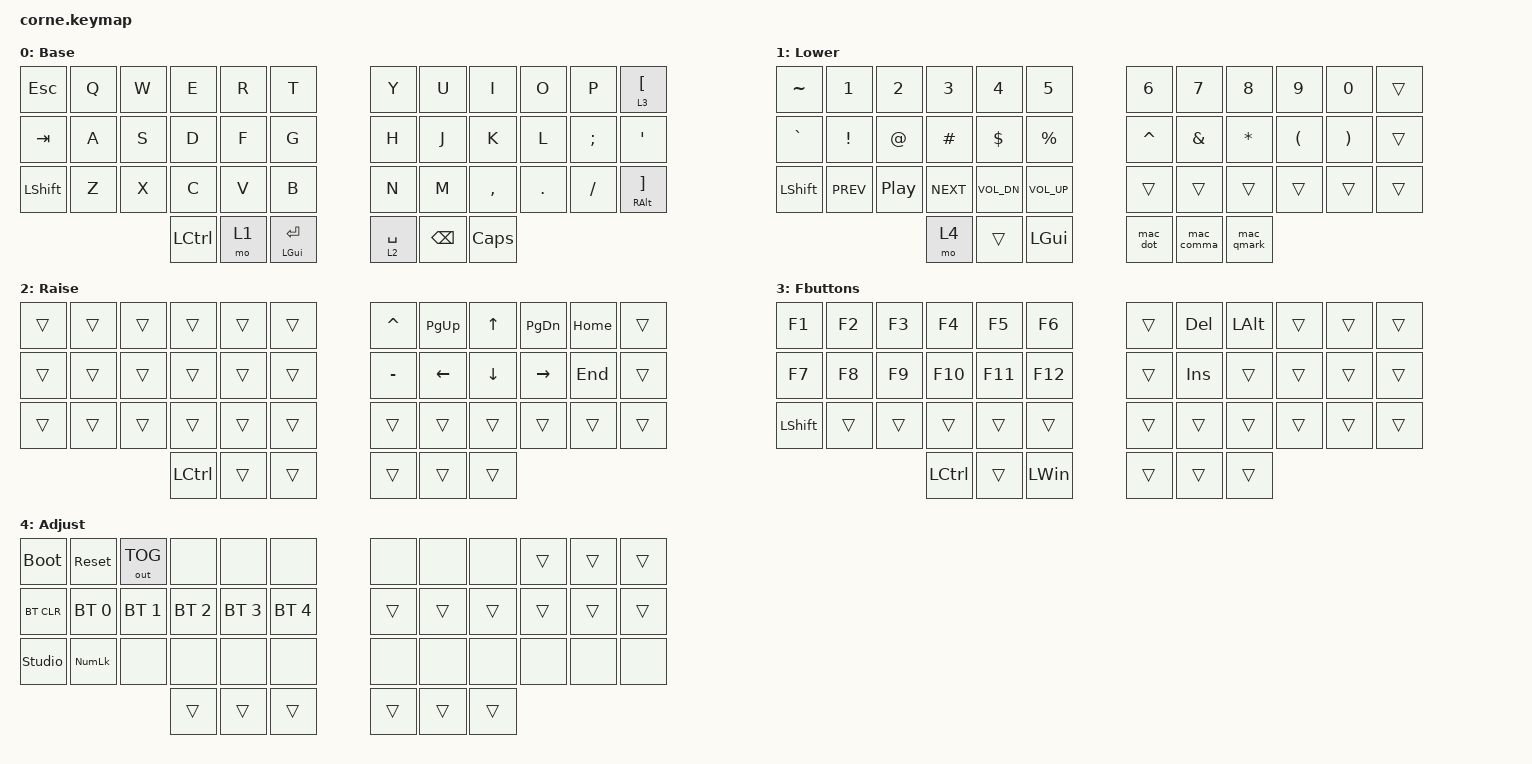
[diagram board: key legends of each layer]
/*
 * Copyright (c) 2020 The ZMK Contributors
 *
 * SPDX-License-Identifier: MIT
 */

#include <behaviors.dtsi>
#include <dt-bindings/zmk/bt.h>
#include <dt-bindings/zmk/keys.h>
#include <dt-bindings/zmk/outputs.h>

#define DEF 0
#define LWR 1
#define RSE 2
#define FLR 3
#define ADJ 4

&lt { quick_tap_ms = <219>; };

&mt { quick_tap_ms = <219>; };

/ {
    macros {
        mac_dot: mac_dot {
            compatible = "zmk,behavior-macro";
            #binding-cells = <0>;
            wait-ms = <30>;
            tap-ms = <30>;
            bindings =
                <&macro_press>,
                <&kp LALT>,
                <&macro_tap>,
                <&kp KP_N0 &kp KP_N4 &kp KP_N6>,
                <&macro_release>,
                <&kp LALT>;
        };

        mac_comma: mac_comma {
            compatible = "zmk,behavior-macro";
            #binding-cells = <0>;
            wait-ms = <30>;
            tap-ms = <30>;
            bindings =
                <&macro_press>,
                <&kp LALT>,
                <&macro_tap>,
                <&kp KP_N0 &kp KP_N4 &kp KP_N4>,
                <&macro_release>,
                <&kp LALT>;
        };

        mac_qmark: mac_qmark {
            compatible = "zmk,behavior-macro";
            #binding-cells = <0>;
            wait-ms = <30>;
            tap-ms = <30>;
            bindings =
                <&macro_press>,
                <&kp LALT>,
                <&macro_tap>,
                <&kp KP_N0 &kp KP_N6 &kp KP_N3>,
                <&macro_release>,
                <&kp LALT>;
        };
    };

    combos {
        compatible = "zmk,combos";

        ParaLeft {
            bindings = <&kp LEFT_PARENTHESIS>;
            key-positions = <4 5>;
            timeout-ms = <60>;
        };

        ParaRight {
            bindings = <&kp RIGHT_PARENTHESIS>;
            key-positions = <6 7>;
            timeout-ms = <60>;
        };

        BrakLeft {
            bindings = <&kp LEFT_BRACKET>;
            key-positions = <16 17>;
            timeout-ms = <60>;
        };

        BrakRight {
            bindings = <&kp RIGHT_BRACKET>;
            key-positions = <18 19>;
            timeout-ms = <60>;
        };

        BraceLeft {
            bindings = <&kp LEFT_BRACE>;
            key-positions = <28 29>;
            timeout-ms = <60>;
        };

        BraceRight {
            bindings = <&kp RIGHT_BRACE>;
            key-positions = <30 31>;
            timeout-ms = <60>;
        };

        DoubleQuote {
            bindings = <&kp DOUBLE_QUOTES>;
            key-positions = <15 16>;
            timeout-ms = <60>;
        };

        SingleQuote {
            bindings = <&kp APOSTROPHE>;
            key-positions = <19 20>;
            timeout-ms = <60>;
        };

        TildaSign {
            bindings = <&kp TILDE>;
            key-positions = <0 12>;
            timeout-ms = <60>;
        };

        GraveSign {
            bindings = <&kp GRAVE>;
            key-positions = <12 24>;
            timeout-ms = <60>;
        };

        MinusSign {
            bindings = <&kp MINUS>;
            key-positions = <3 4>;
            timeout-ms = <60>;
        };

        PlusSign {
            bindings = <&kp EQUAL>;
            key-positions = <28 27>;
            timeout-ms = <20>;
        };

        UnderscoreSign {
            bindings = <&kp UNDERSCORE>;
            key-positions = <7 8>;
            timeout-ms = <20>;
        };

        PipeSign {
            bindings = <&kp PIPE>;
            key-positions = <8 9>;
            timeout-ms = <60>;
        };

        Mainbootloaderleft {
            bindings = <&bootloader>;
            key-positions = <0 4>;
            timeout-ms = <60>;
        };

        Mainbootloaderright {
            bindings = <&bootloader>;
            key-positions = <7 11>;
            timeout-ms = <60>;
        };
    };
};

/ {
    behaviors {
        copy: copy {
            compatible = "zmk,behavior-tap-dance";
            label = "COPY";
            #binding-cells = <0>;
            bindings = <&kp C>, <&kp LC(C)>;
        };

        paste: paste {
            compatible = "zmk,behavior-tap-dance";
            label = "PASTE";
            #binding-cells = <0>;
            bindings = <&kp V>, <&kp LC(V)>;
        };
    };

    keymap {
        compatible = "zmk,keymap";

        default_layer {
             display-name = "Base";
            bindings = <
&kp ESC    &kp Q  &kp W  &kp E      &kp R  &kp T           &kp Y        &kp U     &kp I         &kp O    &kp P     &lt 3 LEFT_BRACKET
&kp TAB    &kp A  &kp S  &kp D      &kp F  &kp G           &kp H        &kp J     &kp K         &kp L    &kp SEMI  &kp SQT
&kp LSHFT  &kp Z  &kp X  &kp C      &kp V  &kp B           &kp N        &kp M     &kp COMMA     &kp DOT  &kp FSLH  &mt RALT RIGHT_BRACKET
                         &kp LCTRL  &mo 1  &mt LGUI RET    &lt 2 SPACE  &kp BSPC  &kp CAPSLOCK
            >;
        };

        lower_layer {
            display-name = "Lower";
            bindings = <
&kp TILDE  &kp N1      &kp N2    &kp N3      &kp N4        &kp N5          &kp N6     &kp N7      &kp N8      &kp N9    &kp N0    &trans
&kp GRAVE  &kp EXCL    &kp AT    &kp HASH    &kp DLLR      &kp PRCNT       &kp CARET  &kp AMPS    &kp ASTRK   &kp LPAR  &kp RPAR  &trans
&kp LSHFT  &kp C_PREV  &kp C_PP  &kp C_NEXT  &kp C_VOL_DN  &kp C_VOL_UP    &trans     &trans      &trans      &trans    &trans    &trans
                                 &mo 4       &trans        &kp LGUI        &mac_dot   &mac_comma  &mac_qmark
            >;
        };

        raise_layer {
            display-name = "Raise";
            bindings = <
&trans  &trans  &trans  &trans     &trans  &trans    &kp CARET  &kp PG_UP  &kp UP    &kp PG_DN  &kp HOME  &trans
&trans  &trans  &trans  &trans     &trans  &trans    &kp MINUS  &kp LEFT   &kp DOWN  &kp RIGHT  &kp END   &trans
&trans  &trans  &trans  &trans     &trans  &trans    &trans     &trans     &trans    &trans     &trans    &trans
                        &kp LCTRL  &trans  &trans    &trans     &trans     &trans
            >;
        };

        fbuttons_layer {
            display-name = "Fbuttons";
            bindings = <
&kp F1     &kp F2  &kp F3  &kp F4     &kp F5   &kp F6          &trans  &kp DEL  &kp LALT  &trans  &trans  &trans
&kp F7     &kp F8  &kp F9  &kp F10    &kp F11  &kp F12         &trans  &kp INS  &trans    &trans  &trans  &trans
&kp LSHFT  &trans  &trans  &trans     &trans   &trans          &trans  &trans   &trans    &trans  &trans  &trans
                           &kp LCTRL  &trans   &kp LEFT_WIN    &trans  &trans   &trans
            >;
        };

        adjust_layer {
            display-name = "Adjust";
            bindings = <
&bootloader     &sys_reset    &out OUT_TOG  &none         &none         &none           &none   &none   &none   &trans  &trans  &trans
&bt BT_CLR      &bt BT_SEL 0  &bt BT_SEL 1  &bt BT_SEL 2  &bt BT_SEL 3  &bt BT_SEL 4    &trans  &trans  &trans  &trans  &trans  &trans
&studio_unlock  &kp KP_NUM    &none         &none         &none         &none           &none   &none   &none   &none   &none   &none
                                            &trans        &trans        &trans          &trans  &trans  &trans
            >;
        };
    };
};
